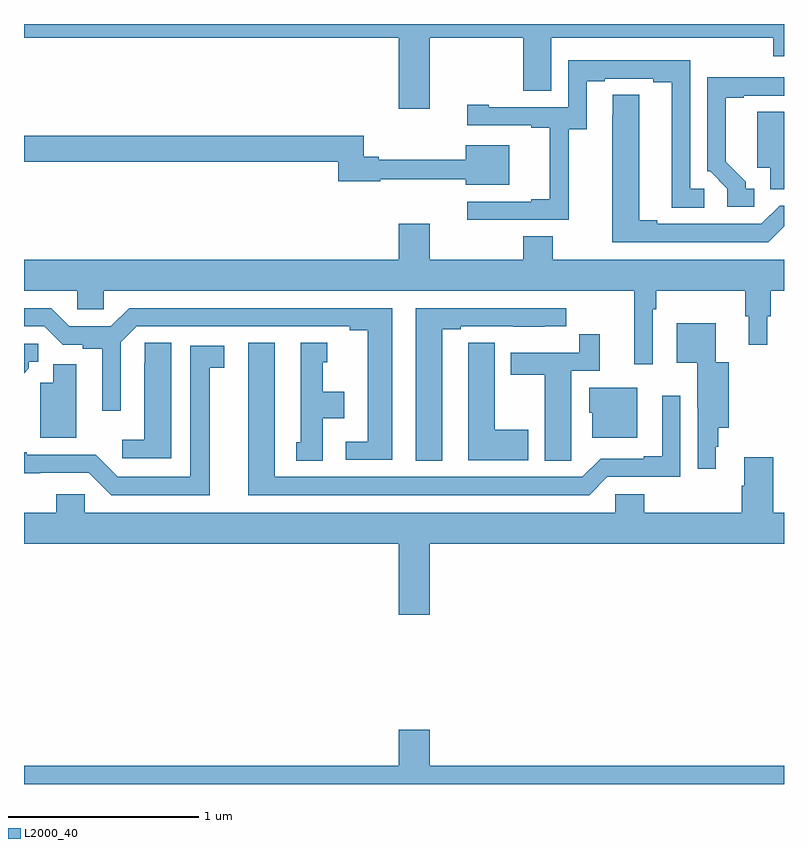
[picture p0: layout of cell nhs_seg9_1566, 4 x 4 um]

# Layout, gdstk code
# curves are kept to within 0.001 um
import gdstk
lib = gdstk.Library(unit=1e-6, precision=1e-09)
def P(c, l, *ps):  # polygons
    for p in ps: c.add(gdstk.Polygon(p, *l))
L2000_40 = (2000, 40)

nhs_seg9_1566 = lib.new_cell('nhs_seg9_1566')
P(nhs_seg9_1566, L2000_40, [(201.136,1188.428),(201.628,1188.428),(201.628,1188.148),(201.775,1188.148),(201.775,1188.428),(202.943,1188.428),(202.943,1188.33),(203,1188.33),(203,1188.5),(199,1188.5),(199,1188.428),(200.972,1188.428),(200.972,1188.054),(201.136,1188.054)],
  [(201.867,1187.947),(201.961,1187.947),(201.961,1188.198),(202.057,1188.198),(202.057,1188.213),(202.313,1188.213),(202.313,1188.193),(202.409,1188.193),(202.409,1187.533),(202.579,1187.533),(202.579,1187.634),(202.506,1187.634),(202.506,1188.309),(201.864,1188.309),(201.864,1188.063),(201.445,1188.063),(201.445,1188.076),(201.333,1188.076),(201.333,1187.967),(201.671,1187.967),(201.671,1187.955),(201.767,1187.955),(201.767,1187.578),(201.671,1187.578),(201.671,1187.565),(201.333,1187.565),(201.333,1187.469),(201.867,1187.469)],
  [(202.843,1187.634),(202.798,1187.634),(202.798,1187.669),(202.693,1187.774),(202.693,1188.111),(202.789,1188.111),(202.789,1188.123),(203,1188.123),(203,1188.219),(202.859,1188.219),(202.859,1188.221),(202.596,1188.221),(202.596,1187.724),(202.611,1187.724),(202.701,1187.634),(202.701,1187.538),(202.843,1187.538)],
  [(203,1187.435),(203,1187.544),(202.977,1187.544),(202.881,1187.448),(202.333,1187.448),(202.333,1187.468),(202.237,1187.468),(202.237,1188.128),(202.098,1188.128),(202.097,1187.352),(202.917,1187.352)],
  [(203,1188.038),(202.859,1188.038),(202.859,1187.744),(202.928,1187.744),(202.928,1187.629),(203,1187.629)],
  [(201.553,1187.863),(201.326,1187.863),(201.326,1187.786),(200.866,1187.786),(200.866,1187.801),(200.789,1187.801),(200.789,1187.912),(199,1187.912),(199,1187.776),(200.653,1187.776),(200.653,1187.673),(200.876,1187.673),(200.876,1187.683),(201.326,1187.683),(201.326,1187.654),(201.553,1187.654)],
  [(202.308,1187),(202.328,1187),(202.328,1187.096),(202.795,1187.096),(202.795,1186.962),(202.814,1186.962),(202.814,1186.812),(202.912,1186.812),(202.912,1186.962),(202.931,1186.962),(202.931,1187.096),(203,1187.096),(203,1187.26),(201.783,1187.26),(201.783,1187.384),(201.628,1187.384),(201.628,1187.26),(201.136,1187.26),(201.136,1187.449),(200.972,1187.449),(200.972,1187.26),(199,1187.26),(199,1187.096),(199.281,1187.096),(199.281,1186.998),(199.419,1186.998),(199.419,1187.096),(202.211,1187.096),(202.211,1186.71),(202.308,1186.71)],
  [(201.202,1186.893),(201.298,1186.893),(201.298,1186.908),(201.574,1186.908),(201.574,1186.907),(201.74,1186.907),(201.74,1186.908),(201.853,1186.908),(201.853,1187.004),(201.062,1187.004),(201.062,1186.201),(201.202,1186.201)],
  [(200.938,1187.004),(199.553,1187.004),(199.457,1186.908),(199.239,1186.908),(199.143,1187.004),(199,1187.004),(199,1186.908),(199.107,1186.908),(199.203,1186.812),(199.308,1186.812),(199.308,1186.792),(199.412,1186.792),(199.412,1186.464),(199.509,1186.464),(199.509,1186.824),(199.593,1186.908),(200.714,1186.908),(200.714,1186.888),(200.81,1186.888),(200.81,1186.302),(200.694,1186.302),(200.694,1186.206),(200.938,1186.206)],
  [(202.642,1186.275),(202.654,1186.275),(202.654,1186.376),(202.71,1186.376),(202.71,1186.72),(202.642,1186.72),(202.642,1186.924),(202.436,1186.924),(202.436,1186.718),(202.544,1186.718),(202.544,1186.48),(202.545,1186.48),(202.545,1186.158),(202.642,1186.158)],
  [(201.879,1186.312),(201.88,1186.312),(201.88,1186.674),(202.031,1186.674),(202.031,1186.867),(201.922,1186.867),(201.922,1186.77),(201.563,1186.77),(201.563,1186.654),(201.74,1186.654),(201.74,1186.201),(201.879,1186.201)],
  [(201.655,1186.365),(201.478,1186.365),(201.478,1186.823),(201.339,1186.823),(201.339,1186.715),(201.338,1186.715),(201.338,1186.205),(201.655,1186.205)],
  [(199.774,1186.823),(199.635,1186.823),(199.635,1186.715),(199.634,1186.715),(199.634,1186.312),(199.518,1186.312),(199.518,1186.215),(199.774,1186.215)],
  [(202.071,1186.116),(202.455,1186.116),(202.455,1186.543),(202.358,1186.543),(202.358,1186.225),(202.262,1186.225),(202.262,1186.212),(202.035,1186.212),(201.939,1186.116),(200.32,1186.116),(200.32,1186.822),(200.18,1186.822),(200.18,1186.02),(201.975,1186.02)],
  [(200.572,1186.424),(200.686,1186.424),(200.686,1186.564),(200.572,1186.564),(200.572,1186.719),(200.596,1186.719),(200.596,1186.822),(200.456,1186.822),(200.456,1186.299),(200.432,1186.299),(200.432,1186.201),(200.572,1186.201)],
  [(199.024,1186.687),(199.024,1186.722),(199.074,1186.722),(199.074,1186.818),(199,1186.818),(199,1186.663)],
  [(199.978,1186.69),(200.053,1186.69),(200.053,1186.806),(199.874,1186.806),(199.874,1186.116),(199.494,1186.116),(199.377,1186.233),(199.015,1186.233),(199.015,1186.246),(199,1186.246),(199,1186.136),(199.341,1186.137),(199.458,1186.02),(199.978,1186.02)],
  [(199.276,1186.71),(199.154,1186.71),(199.154,1186.612),(199.085,1186.612),(199.085,1186.322),(199.276,1186.322)],
  [(202.228,1186.585),(201.974,1186.585),(201.974,1186.455),(201.992,1186.455),(201.992,1186.322),(202.228,1186.322)],
  [(201.136,1185.764),(203,1185.764),(203,1185.928),(202.943,1185.928),(202.943,1186.219),(202.79,1186.219),(202.79,1186.07),(202.778,1186.07),(202.778,1185.928),(202.265,1185.928),(202.265,1186.026),(202.113,1186.026),(202.113,1185.928),(199.32,1185.928),(199.32,1186.026),(199.169,1186.026),(199.169,1185.928),(199,1185.928),(199,1185.764),(200.972,1185.764),(200.972,1185.39),(201.136,1185.39)],
  [(203,1184.596),(201.136,1184.596),(201.136,1184.785),(200.972,1184.785),(200.972,1184.596),(199,1184.596),(199,1184.5),(203,1184.5)])

lib.write_gds('nhs_seg9_1566.gds')
